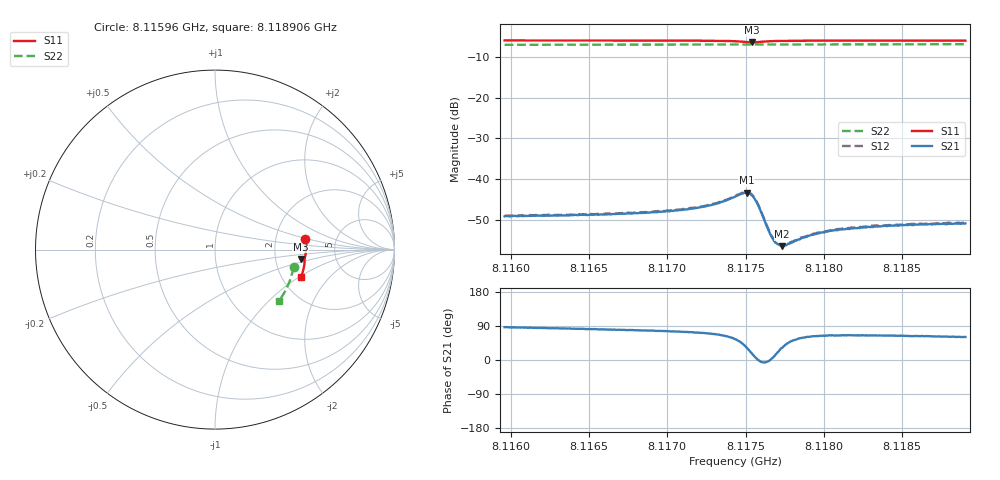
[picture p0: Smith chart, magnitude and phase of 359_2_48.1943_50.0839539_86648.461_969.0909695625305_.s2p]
#  HZ  S  RI  R  50.00
! Rohde & Schwarz Vector Network Analyzer
! Rohde-Schwarz,ZNB20-2Port,1311601062101988,3.16
! Created: UTC 3/20/2024, 11:52:07 AM
! freq[Hz]  re:S11  im:S11  re:S21  im:S21  re:S12  im:S12  re:S22  im:S22
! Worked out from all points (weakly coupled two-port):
!   401 points, 8.11596 GHz to 8.118906 GHz, reference 50 ohm
!   highest |S21| = -43.38 dB at 8.117507 GHz (marker M1); lowest = -56.5 dB at 8.117735 GHz (marker M2)
!   lowest |S11| = -6.3 dB at 8.117543 GHz (marker M3), VSWR 2.86, Z = 140 - j18.8 ohm
!   |S11| at or under -10 dB: nowhere
!   |S22| runs from -7.0 to -6.8 dB; largest |S21 - S12| = 0.00019
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8.1159598e9  0.5037 0.061  0.00021 0.00347  0.00025 0.00355  0.4375 -0.0984
8.1164533e9  0.5062 0.024  0.000488 0.0036  0.000531 0.00363  0.4301 -0.1318
8.1169468e9  0.5056 -0.0138  0.000899 0.00386  0.00095 0.0039  0.42 -0.1646
8.1171162e9  0.5044 -0.0275  0.00117 0.00405  0.00125 0.00411  0.4159 -0.1759
8.117234e9  0.5027 -0.0376  0.00148 0.00432  0.00154 0.0044  0.4129 -0.1835
8.1173224e9  0.5004 -0.0459  0.00194 0.00462  0.00206 0.00469  0.4105 -0.1893
8.1174329e9  0.4933 -0.0567  0.00346 0.005  0.00357 0.00504  0.4072 -0.1965
8.1175065e9  0.4819 -0.0578  0.00566 0.00372  0.00581 0.00376  0.4047 -0.2009
8.1175212e9  0.4798 -0.0558  0.00598 0.00298  0.0061 0.00298  0.404 -0.2016
8.1175433e9  0.4787 -0.0516  0.00601 0.0017  0.00616 0.0017  0.4036 -0.2027
8.1175581e9  0.4795 -0.0486  0.00565 0.000881  0.00578 0.000856  0.4032 -0.2035
8.1175802e9  0.4828 -0.0457  0.0048 2.84e-05  0.00489 -1.87e-05  0.4028 -0.2047
8.1176464e9  0.4934 -0.0482  0.00235 -0.000123  0.00242 -0.000134  0.4013 -0.209
8.1176759e9  0.4958 -0.0515  0.00181 0.000203  0.00187 0.000192  0.4006 -0.2108
8.1177054e9  0.4974 -0.0549  0.00148 0.000548  0.00153 0.000537  0.3997 -0.2129
8.1177348e9  0.4982 -0.0582  0.00126 0.000798  0.00131 0.000853  0.3988 -0.2148
8.1177643e9  0.4988 -0.0615  0.00113 0.00105  0.0012 0.00106  0.3982 -0.2167
8.1179263e9  0.4984 -0.0766  0.000947 0.00183  0.00101 0.00184  0.3929 -0.2269
8.1180442e9  0.4973 -0.0864  0.000983 0.0021  0.00103 0.0021  0.3891 -0.2342
8.1181252e9  0.4961 -0.0927  0.000995 0.00219  0.00105 0.00222  0.3863 -0.2394
8.1184198e9  0.4914 -0.1151  0.00116 0.0024  0.00119 0.00246  0.3758 -0.2571
8.1189059e9  0.4815 -0.1504  0.00139 0.00249  0.00143 0.0025  0.3565 -0.2853
